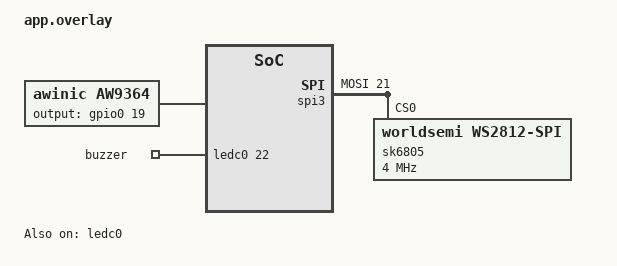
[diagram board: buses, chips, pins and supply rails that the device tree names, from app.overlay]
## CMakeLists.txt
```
cmake_minimum_required(VERSION 3.20.0)

list(APPEND ZEPHYR_EXTRA_MODULES ${CMAKE_SOURCE_DIR}/modules/aw9364/aw9364)

find_package(Zephyr REQUIRED HINTS $ENV{ZEPHYR_BASE})
project(DeerMon)

target_sources(app PRIVATE src/main.c)
```

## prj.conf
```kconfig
CONFIG_SHELL=y

CONFIG_LED=y
CONFIG_LED_SHELL=y

CONFIG_AW9364=y

CONFIG_SPI=y
CONFIG_LED_STRIP=y
CONFIG_WS2812_STRIP=y
CONFIG_WS2812_STRIP_SPI=y

CONFIG_PWM=y
CONFIG_LED_PWM=y

CONFIG_PWM_LED_ESP32=y
# CONFIG_PWM_LED_ESP32_HS_CH0_GPIO=22
# CONFIG_PWM_LED_ESP32_HS_TIMER0_FREQ=78125
# CONFIG_PWM_LED_ESP32_HS_TIMER0_BIT_NUM=10

# CONFIG_LOG=y
```

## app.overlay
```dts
#include <dt-bindings/spi/spi.h>
#include <dt-bindings/led/led.h>
#include <dt-bindings/pwm/pwm.h>

/ {
	aliases {
		lcd-backlight = &aw9364;
		status-rgb = &sk6805;
	};

	aw9364: aw9364 {
		compatible = "awinic,aw9364";
		output-gpios = <&gpio0 19 GPIO_PULL_UP>;
	};

	pwmleds {
		compatible = "pwm-leds";
		buzzer: buzzer {
			pwms = <&ledc0 22 1000 PWM_POLARITY_NORMAL>;
		};
	};
};

&ledc0 {
	status = "okay";
};

&spi3 {
	mosi-pin = <21>;

	sk6805: sk6805@0 {
		compatible = "worldsemi,ws2812-spi";
		label = "sk6805";

		reg = <0>;
		spi-max-frequency = <4000000>;
		frame-format = <SPI_FRAME_FORMAT_TI>;

		chain-length = <1>;
		spi-one-frame = <0x70>;
		spi-zero-frame = <0x40>;
		color-mapping = <LED_COLOR_ID_GREEN LED_COLOR_ID_RED LED_COLOR_ID_BLUE>;
	};
};
```

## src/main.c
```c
#include <device.h>
#include <drivers/led_strip.h>
#include <logging/log.h>
#include <zephyr.h>

LOG_MODULE_REGISTER(main);

static const struct device *status_rgb = DEVICE_DT_GET(DT_ALIAS(status_rgb));

void
main(void)
{
	if (!device_is_ready(status_rgb)) {
		LOG_ERR("RGB LED device %s is not ready", status_rgb->name);
		return;
	}

	struct led_rgb rgb = {.r = 0x00, .g = 0x00, .b = 0xFF};
	led_strip_update_rgb(status_rgb, &rgb, 1);
}
```
